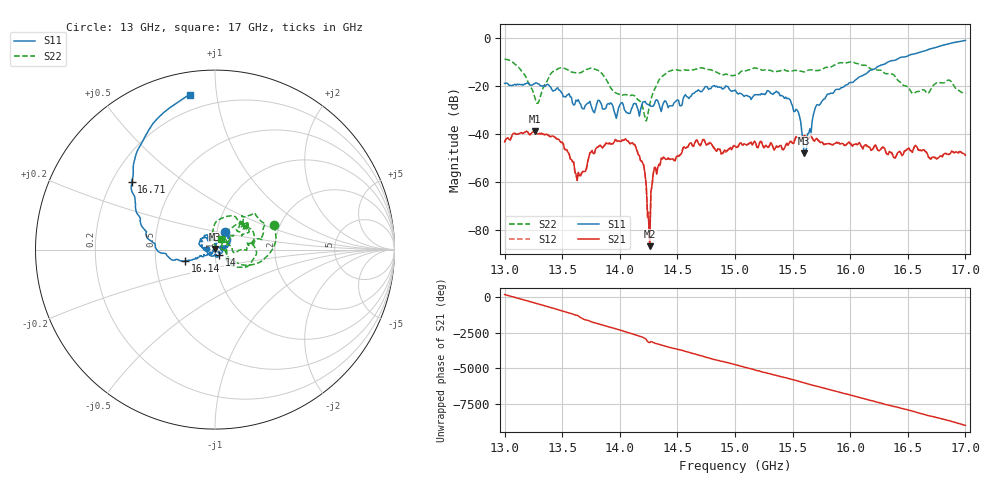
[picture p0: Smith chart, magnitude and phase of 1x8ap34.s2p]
!Keysight Technologies,P9374A,MY57211807,A.19.30.04
!Date: Friday, May 08, 2026 14:36:02
!Correction: S11(C  2-Port  )
!S21(C  2-Port  )
!S12(C  2-Port  )
!S22(C  2-Port  )
!S2P File: Measurements: S11, S21, S12, S22:
# Hz S  dB  R 50
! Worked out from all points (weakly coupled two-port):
!   401 points, 13 GHz to 17 GHz, reference 50 ohm
!   highest |S21| = -38.84 dB at 13.26 GHz (marker M1); lowest = -86.9 dB at 14.26 GHz (marker M2)
!   lowest |S11| = -48.2 dB at 15.6 GHz (marker M3), VSWR 1.01, Z = 50.1 + j0.378 ohm
!   |S11| at or under -10 dB: start of sweep to 16.33 GHz
!   |S22| runs from -34.7 to -9.0 dB; largest |S21 - S12| = 0.00047
!   S11 on the Smith chart (normalised r, x): 13 GHz: 1.10, +0.21; 14 GHz: 1.05, -0.06; 16.14 GHz: 0.71, -0.09; 16.71 GHz: 0.28, +0.33; 17 GHz: 0.12, +0.84
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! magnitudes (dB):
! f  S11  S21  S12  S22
! 13 GHz  -19.0  -43.4  -43.4  -9.0
! 13.26 GHz  -19.2  -38.8  -38.9  -24.5
! 13.46 GHz  -20.9  -42.3  -42.3  -13.0
! 13.67 GHz  -29.2  -56.4  -56.3  -14.4
! 13.81 GHz  -26.1  -45.6  -45.6  -13.6
! 14 GHz  -28.1  -43.2  -43.2  -23.7
! 14.15 GHz  -28.9  -47.2  -46.9  -25.5
! 14.22 GHz  -26.6  -57.2  -57.8  -33.7
! 14.26 GHz  -28.1  -86.9  -86.4  -27.7
! 14.29 GHz  -28.6  -56.7  -57.1  -22.8
! 14.34 GHz  -27.7  -52.7  -53.3  -17.7
! 14.67 GHz  -22.3  -42.7  -42.7  -13.0
! 15 GHz  -21.9  -45.2  -45.1  -15.7
! 15.46 GHz  -25.3  -44.8  -44.8  -13.9
! 15.55 GHz  -31.1  -41.8  -41.9  -13.9
! 15.6 GHz  -48.2  -40.8  -41.0  -14.3
! 15.67 GHz  -34.8  -41.8  -41.7  -13.5
! 15.81 GHz  -23.4  -44.1  -44.1  -12.4
! 16.14 GHz  -15.0  -44.7  -45.2  -11.7
! 16.34 GHz  -9.9  -47.4  -47.6  -15.1
! 16.71 GHz  -4.5  -49.9  -50.0  -20.7
! 17 GHz  -1.2  -49.0  -48.9  -23.1
